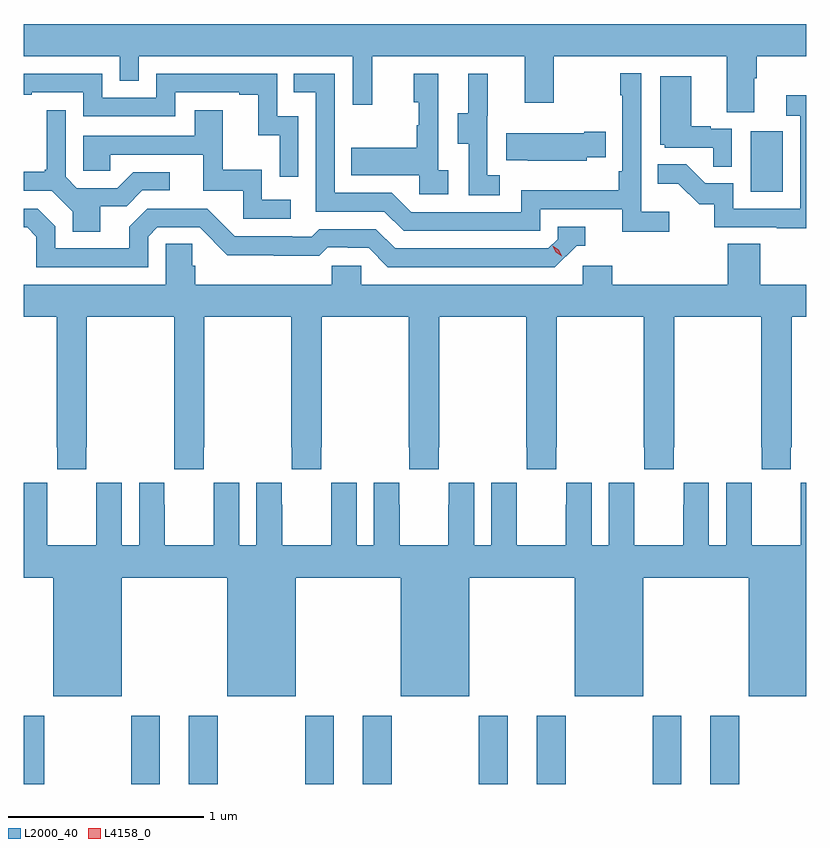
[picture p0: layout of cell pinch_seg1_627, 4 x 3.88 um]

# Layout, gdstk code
import gdstk
lib = gdstk.Library(unit=1e-6, precision=1e-09)
def R(c, l, rs):  # rectangles x0, y0, x1, y1
    for r in rs: c.add(gdstk.rectangle(r[:2], r[2:], *l))
def A(c, l, x, y, w, h, nx, ny, dx, dy):  # array of equal rectangles
    R(c, l, [(x+i*dx, y+j*dy, x+i*dx+w, y+j*dy+h) for i in range(nx) for j in range(ny)])
def P(c, l, *ps):  # polygons
    for p in ps: c.add(gdstk.Polygon(p, *l))
L2000_40 = (2000, 40)
L4158_0 = (4158, 0)

pinch_seg1_627 = lib.new_cell('pinch_seg1_627')
A(pinch_seg1_627, L2000_40, 1079.056, 501.393, 0.147, 0.349, 4, 1, 0.888, 0)
A(pinch_seg1_627, L2000_40, 1079.351, 501.393, 0.148, 0.349, 4, 1, 0.888, 0)
R(pinch_seg1_627, L2000_40, [(1078.506,501.393,1078.611,501.742), (1082.222,504.42,1082.386,504.727)])
P(pinch_seg1_627, L2000_40, [(1082.239,505),(1082.252,505),(1082.252,505.112),(1082.506,505.112),(1082.506,505.276),(1078.506,505.276),(1078.506,505.112),(1078.998,505.112),(1078.998,504.985),(1079.094,504.985),(1079.094,505.112),(1080.189,505.112),(1080.189,504.864),(1080.287,504.864),(1080.287,505.112),(1081.067,505.112),(1081.067,504.873),(1081.215,504.873),(1081.215,505.112),(1082.099,505.112),(1082.099,504.826),(1082.239,504.826)],
  [(1081.804,504.316),(1081.662,504.316),(1081.662,505.024),(1081.554,505.024),(1081.554,504.911),(1081.566,504.911),(1081.566,504.523),(1081.546,504.523),(1081.546,504.427),(1081.05,504.427),(1081.05,504.315),(1080.486,504.315),(1080.387,504.414),(1080.096,504.414),(1080.096,505.023),(1079.887,505.023),(1079.887,504.927),(1080,504.927),(1080,504.318),(1080.35,504.318),(1080.449,504.219),(1081.146,504.219),(1081.146,504.33),(1081.565,504.33),(1081.565,504.214),(1081.804,504.214)],
  [(1079.91,504.804),(1079.802,504.804),(1079.802,505.023),(1079.184,505.023),(1079.184,504.9),(1078.908,504.9),(1078.908,505.023),(1078.506,505.023),(1078.506,504.915),(1078.549,504.915),(1078.549,504.927),(1078.812,504.927),(1078.812,504.804),(1079.28,504.804),(1079.28,504.927),(1079.609,504.927),(1079.609,504.915),(1079.705,504.915),(1079.705,504.707),(1079.814,504.707),(1079.814,504.495),(1079.91,504.495)],
  [(1080.94,504.503),(1080.876,504.503),(1080.876,504.807),(1080.878,504.807),(1080.878,505.021),(1080.779,505.021),(1080.779,504.819),(1080.725,504.819),(1080.725,504.664),(1080.78,504.664),(1080.78,504.4),(1080.94,504.4)],
  [(1080.676,504.53),(1080.624,504.53),(1080.624,505.021),(1080.5,505.021),(1080.5,504.876),(1080.526,504.876),(1080.526,504.758),(1080.516,504.758),(1080.516,504.643),(1080.181,504.643),(1080.181,504.503),(1080.528,504.503),(1080.528,504.405),(1080.676,504.405)],
  [(1082.124,504.741),(1082.018,504.741),(1082.018,504.754),(1081.918,504.754),(1081.918,505.009),(1081.76,505.009),(1081.76,504.66),(1081.782,504.66),(1081.782,504.645),(1082.029,504.645),(1082.029,504.547),(1082.124,504.547)],
  [(1082.506,504.913),(1082.403,504.913),(1082.403,504.807),(1082.475,504.807),(1082.475,504.333),(1082.133,504.333),(1082.133,504.462),(1081.989,504.462),(1081.891,504.56),(1081.747,504.56),(1081.747,504.461),(1081.851,504.461),(1081.958,504.354),(1082.035,504.354),(1082.035,504.237),(1082.353,504.237),(1082.353,504.232),(1082.506,504.232)],
  [(1078.897,504.346),(1079.032,504.346),(1079.112,504.426),(1079.254,504.426),(1079.254,504.519),(1079.066,504.519),(1078.985,504.438),(1078.779,504.438),(1078.722,504.495),(1078.722,504.835),(1078.625,504.835),(1078.625,504.532),(1078.614,504.532),(1078.614,504.52),(1078.506,504.52),(1078.506,504.423),(1078.65,504.423),(1078.757,504.316),(1078.757,504.214),(1078.897,504.214)],
  [(1079.872,504.378),(1079.724,504.378),(1079.724,504.532),(1079.525,504.532),(1079.525,504.835),(1079.381,504.835),(1079.381,504.705),(1078.812,504.705),(1078.812,504.525),(1078.949,504.525),(1078.949,504.609),(1079.423,504.609),(1079.423,504.423),(1079.628,504.423),(1079.628,504.282),(1079.872,504.282)],
  [(1081.383,504.596),(1081.481,504.596),(1081.481,504.726),(1081.37,504.726),(1081.37,504.718),(1080.973,504.718),(1080.973,504.581),(1081.081,504.581),(1081.081,504.578),(1081.383,504.578)],
  [(1079.142,504.189),(1079.19,504.237),(1079.406,504.237),(1079.548,504.095),(1079.784,504.095),(1079.784,504.093),(1080.017,504.093),(1080.059,504.135),(1080.162,504.135),(1080.162,504.132),(1080.269,504.132),(1080.368,504.033),(1081.221,504.033),(1081.332,504.144),(1081.375,504.144),(1081.375,504.24),(1081.236,504.24),(1081.236,504.177),(1081.188,504.129),(1080.405,504.129),(1080.306,504.228),(1080.017,504.228),(1079.978,504.189),(1079.879,504.189),(1079.879,504.192),(1079.586,504.192),(1079.445,504.333),(1079.139,504.333),(1079.045,504.239),(1079.045,504.129),(1078.668,504.129),(1078.668,504.243),(1078.578,504.333),(1078.506,504.333),(1078.506,504.237),(1078.524,504.237),(1078.572,504.189),(1078.572,504.033),(1079.142,504.033)],
  [(1078.827,503.113),(1078.83,503.113),(1078.83,503.78),(1079.275,503.78),(1079.275,503.113),(1079.277,503.113),(1079.277,503.001),(1079.427,503.001),(1079.427,503.113),(1079.43,503.113),(1079.43,503.78),(1079.875,503.78),(1079.875,503.113),(1079.877,503.113),(1079.877,503.001),(1080.027,503.001),(1080.027,503.113),(1080.03,503.113),(1080.03,503.78),(1080.475,503.78),(1080.475,503.113),(1080.477,503.113),(1080.477,503.001),(1080.627,503.001),(1080.627,503.113),(1080.63,503.113),(1080.63,503.78),(1081.075,503.78),(1081.075,503.113),(1081.077,503.113),(1081.077,503.001),(1081.227,503.001),(1081.227,503.113),(1081.23,503.113),(1081.23,503.78),(1081.675,503.78),(1081.675,503.113),(1081.677,503.113),(1081.677,503.001),(1081.827,503.001),(1081.827,503.113),(1081.83,503.113),(1081.83,503.78),(1082.275,503.78),(1082.275,503.113),(1082.277,503.113),(1082.277,503.001),(1082.427,503.001),(1082.427,503.113),(1082.43,503.113),(1082.43,503.78),(1082.506,503.78),(1082.506,503.944),(1082.27,503.944),(1082.27,504.152),(1082.105,504.152),(1082.105,503.944),(1081.514,503.944),(1081.514,504.042),(1081.362,504.042),(1081.362,503.944),(1080.231,503.944),(1080.231,504.042),(1080.081,504.042),(1080.081,503.944),(1079.384,503.944),(1079.384,504.042),(1079.369,504.042),(1079.369,504.152),(1079.232,504.152),(1079.232,503.944),(1078.506,503.944),(1078.506,503.78),(1078.675,503.78),(1078.675,503.113),(1078.677,503.113),(1078.677,503.001),(1078.827,503.001)],
  [(1079.008,502.448),(1079.546,502.448),(1079.546,501.842),(1079.896,501.842),(1079.896,502.448),(1080.434,502.448),(1080.434,501.842),(1080.784,501.842),(1080.784,502.448),(1081.322,502.448),(1081.322,501.842),(1081.672,501.842),(1081.672,502.448),(1082.21,502.448),(1082.21,501.842),(1082.506,501.842),(1082.506,502.933),(1082.478,502.933),(1082.478,502.82),(1082.477,502.82),(1082.477,502.612),(1082.227,502.612),(1082.227,502.82),(1082.226,502.82),(1082.226,502.933),(1082.096,502.933),(1082.096,502.612),(1082.008,502.612),(1082.008,502.933),(1081.878,502.933),(1081.878,502.82),(1081.877,502.82),(1081.877,502.612),(1081.627,502.612),(1081.627,502.82),(1081.626,502.82),(1081.626,502.933),(1081.496,502.933),(1081.496,502.612),(1081.408,502.612),(1081.408,502.933),(1081.278,502.933),(1081.278,502.82),(1081.277,502.82),(1081.277,502.612),(1081.027,502.612),(1081.027,502.82),(1081.026,502.82),(1081.026,502.933),(1080.896,502.933),(1080.896,502.612),(1080.808,502.612),(1080.808,502.933),(1080.678,502.933),(1080.678,502.82),(1080.677,502.82),(1080.677,502.612),(1080.427,502.612),(1080.427,502.82),(1080.426,502.82),(1080.426,502.933),(1080.296,502.933),(1080.296,502.612),(1080.208,502.612),(1080.208,502.933),(1080.078,502.933),(1080.078,502.82),(1080.077,502.82),(1080.077,502.612),(1079.827,502.612),(1079.827,502.82),(1079.826,502.82),(1079.826,502.933),(1079.696,502.933),(1079.696,502.612),(1079.608,502.612),(1079.608,502.933),(1079.478,502.933),(1079.478,502.82),(1079.477,502.82),(1079.477,502.612),(1079.227,502.612),(1079.227,502.82),(1079.226,502.82),(1079.226,502.933),(1079.096,502.933),(1079.096,502.612),(1079.008,502.612),(1079.008,502.933),(1078.878,502.933),(1078.878,502.82),(1078.877,502.82),(1078.877,502.612),(1078.627,502.612),(1078.627,502.82),(1078.626,502.82),(1078.626,502.933),(1078.506,502.933),(1078.506,502.448),(1078.658,502.448),(1078.658,501.842),(1079.008,501.842)])
P(pinch_seg1_627, L4158_0, [(1081.257,504.089),(1081.226,504.109),(1081.211,504.141),(1081.211,504.142),(1081.211,504.142),(1081.241,504.122),(1081.257,504.089),(1081.257,504.089)])

lib.write_gds('pinch_seg1_627.gds')
